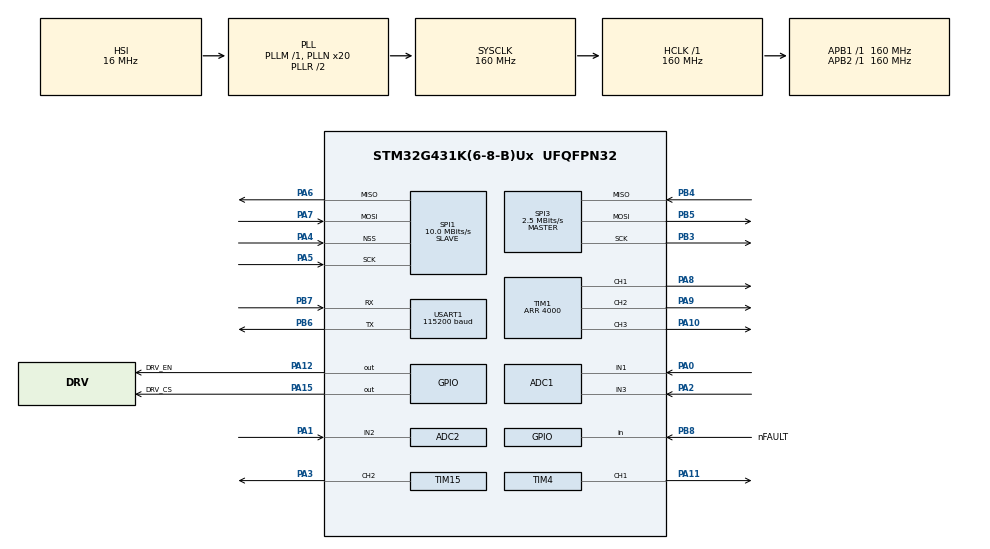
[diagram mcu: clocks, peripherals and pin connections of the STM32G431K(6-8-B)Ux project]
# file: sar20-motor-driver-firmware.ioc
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Dma.SPI3_RX.0.Priority=DMA_PRIORITY_LOW
NVIC.ADC1_2_IRQn=true\:0\:0\:false\:false\:true\:true\:true
TIM15.PulseNoDither_2=32000
Dma.ADC1.4.Priority=DMA_PRIORITY_LOW
SPI3.Direction=SPI_DIRECTION_2LINES
SPI3.VirtualType=VM_MASTER
SPI1.VirtualType=VM_SLAVE
ADC2.SamplingTime-1\#ChannelRegularConversion=ADC_SAMPLETIME_2CYCLES_5
Dma.USART1_RX.3.RequestNumber=1
Dma.TIM4_CH2.2.PeriphDataAlignment=DMA_PDATAALIGN_HALFWORD
Dma.USART1_RX.3.MemDataAlignment=DMA_MDATAALIGN_BYTE
Dma.ADC1.4.PeriphInc=DMA_PINC_DISABLE
PB3.GPIO_Speed=GPIO_SPEED_FREQ_LOW
Dma.ADC1.4.SignalID=NONE
RCC.SYSCLKSource=RCC_SYSCLKSOURCE_PLLCLK
Dma.ADC2.5.Polarity=HAL_DMAMUX_REQ_GEN_RISING
NVIC.DMA1_Channel3_IRQn=true\:0\:0\:false\:false\:true\:false\:true
Dma.SPI1_RX.6.SignalID=NONE
Dma.TIM4_CH2.2.MemDataAlignment=DMA_MDATAALIGN_HALFWORD
Dma.SPI1_RX.6.Priority=DMA_PRIORITY_LOW
Dma.ADC1.4.RequestNumber=1
PA4.Mode=NSS_Signal_Hard_Input
Dma.TIM4_CH2.2.Direction=DMA_PERIPH_TO_MEMORY
SPI1.Direction=SPI_DIRECTION_2LINES
RCC.APB2TimFreq_Value=160000000
PB6.Signal=USART1_TX
Dma.SPI1_RX.6.PeriphInc=DMA_PINC_DISABLE
PB6.Mode=Asynchronous
SPI1.CalculateBaudRate=10.0 MBits/s
Dma.SPI3_RX.0.PeriphDataAlignment=DMA_PDATAALIGN_HALFWORD
Dma.ADC1.4.Instance=DMA1_Channel5
Dma.ADC1.4.SyncSignalID=NONE
Dma.SPI3_RX.0.SyncSignalID=NONE
ADC2.EOCSelection=ADC_EOC_SEQ_CONV
Dma.SPI3_RX.0.SignalID=NONE
VP_TIM4_VS_ControllerModeTrigger.Mode=Trigger Mode
Dma.SPI3_RX.0.Direction=DMA_PERIPH_TO_MEMORY
Dma.ADC2.5.SyncSignalID=NONE
PB3.Mode=Full_Duplex_Master
Dma.SPI3_RX.0.MemDataAlignment=DMA_MDATAALIGN_HALFWORD
RCC.ADC12Freq_Value=160000000
Dma.SPI1_RX.6.SyncEnable=DISABLE
Dma.SPI3_RX.0.EventEnable=DISABLE
TIM1.Channel-PWM\ Generation1\ CH1=TIM_CHANNEL_1
TIM15.Channel-PWM\ Generation2\ CH2=TIM_CHANNEL_2
Dma.USART1_RX.3.SyncRequestNumber=1
SPI1.DataSize=SPI_DATASIZE_16BIT
PA0.Mode=IN1-Single-Ended
PA8.Signal=S_TIM1_CH1
SPI1.VirtualNSS=VM_NSSHARD
Dma.SPI1_TX.7.SyncSignalID=NONE
Dma.SPI3_TX.1.SyncEnable=DISABLE
VP_TIM1_VS_no_output5.Mode=PWM Generation5 No Output
VP_TIM1_VS_ClockSourceINT.Mode=Internal
ADC1.SamplingTime-0\#ChannelRegularConversion=ADC_SAMPLETIME_2CYCLES_5
PA0.Signal=ADC1_IN1
TIM4.Channel-PWM\ Generation2\ No\ Output=TIM_CHANNEL_2
Dma.ADC1.4.SyncRequestNumber=1
Mcu.Package=UFQFPN32
Dma.USART1_RX.3.Instance=DMA1_Channel4
Dma.SPI1_RX.6.SyncPolarity=HAL_DMAMUX_SYNC_NO_EVENT
SPI3.Mode=SPI_MODE_MASTER
Dma.SPI1_RX.6.MemInc=DMA_MINC_ENABLE
Dma.TIM4_CH2.2.EventEnable=DISABLE
ADC2.Overrun=ADC_OVR_DATA_OVERWRITTEN
TIM4.PulseNoDither_2=7999
TIM4.PulseNoDither_1=7999
TIM1.PulseNoDither_5=3999
ADC2.Channel-1\#ChannelRegularConversion=ADC_CHANNEL_2
TIM1.PulseNoDither_4=1
PA10.Signal=S_TIM1_CH3
Dma.ADC1.4.MemInc=DMA_MINC_ENABLE
Dma.TIM4_CH2.2.MemInc=DMA_MINC_DISABLE
PB5.GPIO_Speed=GPIO_SPEED_FREQ_LOW
Dma.ADC2.5.SyncEnable=DISABLE
SH.S_TIM4_CH1.0=TIM4_CH1,PWM Generation1 CH1
RCC.APB1TimFreq_Value=160000000
Dma.SPI3_RX.0.SyncPolarity=HAL_DMAMUX_SYNC_NO_EVENT
Dma.ADC1.4.EventEnable=DISABLE
NVIC.DMA1_Channel4_IRQn=true\:6\:0\:true\:false\:true\:false\:true
NVIC.USART1_IRQn=true\:7\:0\:true\:false\:true\:true\:true
Dma.USART1_RX.3.MemInc=DMA_MINC_ENABLE
ADC1.EOCSelection=ADC_EOC_SEQ_CONV
RCC.HSI48_VALUE=48000000
PA5.Mode=Full_Duplex_Slave
Dma.SPI1_TX.7.SyncEnable=DISABLE
PB7.GPIO_PuPd=GPIO_PULLUP
NVIC.DMA1_Channel6_IRQn=true\:0\:0\:false\:false\:true\:false\:true
Dma.SPI3_TX.1.MemInc=DMA_MINC_DISABLE
Dma.SPI1_TX.7.PeriphInc=DMA_PINC_DISABLE
Dma.SPI1_RX.6.PeriphDataAlignment=DMA_PDATAALIGN_HALFWORD
ADC1.Rank-0\#ChannelRegularConversion=1
Dma.TIM4_CH2.2.SyncPolarity=HAL_DMAMUX_SYNC_NO_EVENT
TIM1.CounterMode=TIM_COUNTERMODE_CENTERALIGNED2
ADC1.OffsetNumber-0\#ChannelRegularConversion=ADC_OFFSET_NONE
VP_TIM4_VS_no_output2.Mode=PWM Generation2 No Output
Dma.SPI1_TX.7.SignalID=NONE
Dma.SPI3_TX.1.Priority=DMA_PRIORITY_LOW
Dma.TIM4_CH2.2.RequestNumber=1
Dma.ADC2.5.PeriphDataAlignment=DMA_PDATAALIGN_HALFWORD
PA9.Signal=S_TIM1_CH2
TIM1.Channel-PWM\ Generation2\ CH2=TIM_CHANNEL_2
Dma.SPI3_TX.1.MemDataAlignment=DMA_MDATAALIGN_HALFWORD
PB4.GPIO_PuPd=GPIO_NOPULL
Dma.TIM4_CH2.2.Priority=DMA_PRIORITY_LOW
TIM15.PeriodNoDither=63999
ADC2.OffsetNumber-1\#ChannelRegularConversion=ADC_OFFSET_NONE
PA5.Signal=SPI1_SCK
PB8-BOOT0.Signal=GPIO_Input
Dma.ADC1.4.SyncPolarity=HAL_DMAMUX_SYNC_NO_EVENT
Dma.ADC2.5.Priority=DMA_PRIORITY_LOW
TIM1.TIM_MasterOutputTrigger=TIM_TRGO_OC4REF
Dma.SPI1_RX.6.Mode=DMA_CIRCULAR
PA1.Mode=IN2-Single-Ended
SPI1.CRCCalculation=SPI_CRCCALCULATION_DISABLE
SPI1.Mode=SPI_MODE_SLAVE
VP_TIM4_VS_ClockSourceITR.Mode=TriggerSource_ITR0
Dma.ADC1.4.Mode=DMA_CIRCULAR
Dma.SPI1_RX.6.EventEnable=DISABLE
Dma.SPI1_TX.7.Direction=DMA_MEMORY_TO_PERIPH
ADC1.DMAContinuousRequests=ENABLE
Dma.USART1_RX.3.PeriphDataAlignment=DMA_PDATAALIGN_BYTE
PA13.Mode=Serial_Wire
Dma.ADC1.4.MemDataAlignment=DMA_MDATAALIGN_HALFWORD
TIM1.Channel-PWM\ Generation4\ No\ Output=TIM_CHANNEL_4
Dma.ADC2.5.SignalID=NONE
ADC1.ExternalTrigConv=ADC_EXTERNALTRIG_T1_TRGO
Dma.SPI3_TX.1.PeriphInc=DMA_PINC_DISABLE
Dma.SPI3_RX.0.SyncRequestNumber=1
ADC1.SamplingTime-1\#ChannelRegularConversion=ADC_SAMPLETIME_2CYCLES_5
PA4.Signal=SPI1_NSS
PB5.Signal=SPI3_MOSI
ADC1.master=1
Dma.TIM4_CH2.2.SyncEnable=DISABLE
ADC2.NbrOfConversionFlag=1
Dma.TIM4_CH2.2.SyncSignalID=NONE
Dma.TIM4_CH2.2.SyncRequestNumber=1
ADC1.Rank-1\#ChannelRegularConversion=2
PA11.Signal=S_TIM4_CH1
NVIC.DMA2_Channel1_IRQn=true\:1\:0\:true\:false\:true\:false\:true
ProjectManager.HeapSize=0x200
TIM1.Channel-PWM\ Generation5\ No\ Output=TIM_CHANNEL_5
Dma.SPI1_TX.7.SyncPolarity=HAL_DMAMUX_SYNC_NO_EVENT
NVIC.PriorityGroup=NVIC_PRIORITYGROUP_4
Dma.SPI1_TX.7.PeriphDataAlignment=DMA_PDATAALIGN_HALFWORD
NVIC.DMA1_Channel1_IRQn=true\:0\:0\:false\:false\:true\:false\:true
TIM1.Channel-PWM\ Generation3\ CH3=TIM_CHANNEL_3
Dma.SPI1_RX.6.RequestNumber=1
Dma.SPI3_TX.1.SignalID=NONE
TIM1.PeriodNoDither=4000
Dma.SPI1_TX.7.Priority=DMA_PRIORITY_LOW
Mcu.Family=STM32G4
Dma.SPI3_RX.0.RequestNumber=1
Dma.USART1_RX.3.EventEnable=DISABLE
Dma.SPI3_TX.1.SyncSignalID=NONE
ADC2.ExternalTrigConv=ADC_EXTERNALTRIG_T1_TRGO
Dma.SPI1_TX.7.EventEnable=DISABLE
PA6.Mode=Full_Duplex_Slave
RCC.CortexFreq_Value=160000000
NVIC.DMA1_Channel5_IRQn=true\:0\:0\:false\:false\:true\:false\:true
Dma.ADC2.5.RequestNumber=1
ADC1.Overrun=ADC_OVR_DATA_OVERWRITTEN
ADC1.ContinuousConvMode=DISABLE
TIM1.RepetitionCounter=1
USART1.BaudRate=115200
Dma.SPI1_TX.7.MemDataAlignment=DMA_MDATAALIGN_HALFWORD
ProjectManager.StackSize=0x400
SH.S_TIM15_CH2.0=TIM15_CH2,PWM Generation2 CH2
Dma.USART1_RX.3.Polarity=HAL_DMAMUX_REQ_GEN_RISING
Dma.SPI3_TX.1.Polarity=HAL_DMAMUX_REQ_GEN_RISING
PA15.GPIO_Label=DRV_CS
Dma.SPI3_RX.0.MemInc=DMA_MINC_ENABLE
PA12.Signal=GPIO_Output
ADC2.DMAContinuousRequests=ENABLE
TIM15.Prescaler=249
ADC1.Mode=ADC_MODE_INDEPENDENT
RCC.HCLKFreq_Value=160000000
Dma.SPI1_TX.7.RequestNumber=1
RCC.AHBFreq_Value=160000000
SPI3.DataSize=SPI_DATASIZE_16BIT
Dma.SPI1_RX.6.SyncSignalID=NONE
ADC1.Channel-0\#ChannelRegularConversion=ADC_CHANNEL_1
NVIC.DMA2_Channel2_IRQn=true\:1\:0\:true\:false\:true\:false\:true
RCC.HSE_VALUE=8000000
Dma.SPI3_TX.1.RequestNumber=1
PB4.Mode=Full_Duplex_Master
PA14.Mode=Serial_Wire
PB5.Mode=Full_Duplex_Master
VP_SYS_VS_DBSignals.Mode=DisableDeadBatterySignals
Dma.TIM4_CH2.2.SignalID=NONE
PB7.Signal=USART1_RX
Dma.USART1_RX.3.Direction=DMA_PERIPH_TO_MEMORY
Dma.ADC2.5.MemInc=DMA_MINC_ENABLE
Dma.SPI1_TX.7.Polarity=HAL_DMAMUX_REQ_GEN_RISING
Dma.TIM4_CH2.2.Mode=DMA_CIRCULAR
Dma.SPI1_TX.7.SyncRequestNumber=1
Dma.ADC2.5.Mode=DMA_CIRCULAR
PA6.Signal=SPI1_MISO
Dma.SPI1_RX.6.Polarity=HAL_DMAMUX_REQ_GEN_RISING
PA15.Signal=GPIO_Output
ADC1.OffsetNumber-1\#ChannelRegularConversion=ADC_OFFSET_NONE
Dma.TIM4_CH2.2.Polarity=HAL_DMAMUX_REQ_GEN_RISING
PB8-BOOT0.GPIO_Label=nFAULT
Dma.ADC2.5.Direction=DMA_PERIPH_TO_MEMORY
Dma.SPI3_TX.1.Direction=DMA_MEMORY_TO_PERIPH
Dma.Request2=TIM4_CH2
Dma.ADC2.5.MemDataAlignment=DMA_MDATAALIGN_HALFWORD
Dma.Request1=SPI3_TX
Dma.Request4=ADC1
Dma.Request3=USART1_RX
Dma.Request6=SPI1_RX
Dma.Request5=ADC2
Dma.Request7=SPI1_TX
Dma.ADC2.5.Instance=DMA1_Channel6
Dma.Request0=SPI3_RX
Dma.ADC2.5.SyncPolarity=HAL_DMAMUX_SYNC_NO_EVENT
PB4.Signal=SPI3_MISO
Dma.SPI3_RX.0.Polarity=HAL_DMAMUX_REQ_GEN_RISING
PA3.Signal=S_TIM15_CH2
Dma.SPI1_RX.6.SyncRequestNumber=1
ADC2.ClockPrescaler=ADC_CLOCK_SYNC_PCLK_DIV4
TIM4.Channel-PWM\ Generation1\ CH1=TIM_CHANNEL_1
Dma.SPI1_RX.6.Direction=DMA_PERIPH_TO_MEMORY
Dma.TIM4_CH2.2.PeriphInc=DMA_PINC_DISABLE
Dma.SPI1_TX.7.MemInc=DMA_MINC_ENABLE
PA7.Mode=Full_Duplex_Slave
Dma.SPI1_TX.7.Mode=DMA_CIRCULAR
PB8-BOOT0.GPIO_PuPd=GPIO_PULLUP
Dma.SPI3_RX.0.PeriphInc=DMA_PINC_DISABLE
Dma.USART1_RX.3.PeriphInc=DMA_PINC_DISABLE
TIM4.PeriodNoDither=7999
Dma.SPI3_TX.1.EventEnable=DISABLE
Dma.ADC1.4.SyncEnable=DISABLE
Dma.ADC1.4.PeriphDataAlignment=DMA_PDATAALIGN_HALFWORD
RCC.EXTERNAL_CLOCK_VALUE=12288000
Dma.USART1_RX.3.SyncPolarity=HAL_DMAMUX_SYNC_NO_EVENT
Dma.SPI3_TX.1.Instance=DMA1_Channel2
PA12.GPIO_Label=DRV_EN
Dma.SPI3_RX.0.Mode=DMA_CIRCULAR
Dma.SPI3_TX.1.PeriphDataAlignment=DMA_PDATAALIGN_HALFWORD
USART1.VirtualMode-Asynchronous=VM_ASYNC
PA13.Signal=SYS_JTMS-SWDIO
SH.S_TIM1_CH1.0=TIM1_CH1,PWM Generation1 CH1
Dma.SPI3_TX.1.Mode=DMA_NORMAL
NVIC.DMA1_Channel2_IRQn=true\:0\:0\:false\:false\:true\:false\:true
ProjectManager.TargetToolchain=STM32CubeIDE
ADC1.Channel-1\#ChannelRegularConversion=ADC_CHANNEL_3
RCC.USBFreq_Value=160000000
RCC.LSE_VALUE=32768
PA1.Signal=ADC2_IN2
Dma.SPI1_TX.7.Instance=DMA2_Channel2
board=custom
SPI3.CLKPhase=SPI_PHASE_2EDGE
RCC.VCOOutputFreq_Value=320000000
VP_TIM1_VS_no_output4.Mode=PWM Generation4 No Output
PB4.GPIO_Speed=GPIO_SPEED_FREQ_LOW
RCC.APB2Freq_Value=160000000
SPI3.CalculateBaudRate=2.5 MBits/s
SH.S_TIM1_CH2.0=TIM1_CH2,PWM Generation2 CH2
Dma.USART1_RX.3.SyncEnable=DISABLE
SPI3.BaudRatePrescaler=SPI_BAUDRATEPRESCALER_64
Dma.ADC1.4.Polarity=HAL_DMAMUX_REQ_GEN_RISING
ADC1.NbrOfConversion=2
Dma.SPI3_TX.1.SyncPolarity=HAL_DMAMUX_SYNC_NO_EVENT
Mcu.Name=STM32G431K(6-8-B)Ux
Dma.SPI3_RX.0.Instance=DMA1_Channel1
Dma.ADC2.5.SyncRequestNumber=1
PA2.Signal=ADC1_IN3
Dma.USART1_RX.3.Priority=DMA_PRIORITY_LOW
Dma.USART1_RX.3.SyncSignalID=NONE
PB3.Signal=SPI3_SCK
RCC.SYSCLKFreq_VALUE=160000000
TIM1.TIM_MasterOutputTrigger2=TIM_TRGO2_OC5REF
Dma.ADC2.5.EventEnable=DISABLE
PB7.Mode=Asynchronous
Dma.TIM4_CH2.2.Instance=DMA1_Channel3
PA14.Signal=SYS_JTCK-SWCLK
Dma.SPI3_TX.1.SyncRequestNumber=1
Dma.SPI1_RX.6.MemDataAlignment=DMA_MDATAALIGN_HALFWORD
SH.S_TIM1_CH3.0=TIM1_CH3,PWM Generation3 CH3
Dma.ADC2.5.PeriphInc=DMA_PINC_DISABLE
Dma.ADC1.4.Direction=DMA_PERIPH_TO_MEMORY
RCC.HSI_VALUE=16000000
ADC1.NbrOfConversionFlag=1
RCC.PLLN=20
Dma.SPI3_RX.0.SyncEnable=DISABLE
ADC2.Rank-1\#ChannelRegularConversion=1
PA2.Mode=IN3-Single-Ended
Dma.SPI1_RX.6.Instance=DMA2_Channel1
Dma.USART1_RX.3.SignalID=NONE
RCC.APB1Freq_Value=160000000
Dma.USART1_RX.3.Mode=DMA_CIRCULAR
TIM1.TIM_MasterSlaveMode=TIM_MASTERSLAVEMODE_ENABLE
PA7.Signal=SPI1_MOSI

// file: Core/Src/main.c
/* USER CODE BEGIN Header */
/**
  ******************************************************************************
  * @file           : main.c
  * @brief          : Main program body
  ******************************************************************************
  * @attention
  *
  * <h2><center>&copy; Copyright (c) 2020 STMicroelectronics.
  * All rights reserved.</center></h2>
  *
  * This software component is licensed by ST under BSD 3-Clause license,
  * the "License"; You may not use this file except in compliance with the
  * License. You may obtain a copy of the License at:
  *                        opensource.org/licenses/BSD-3-Clause
  *
  ******************************************************************************
  */
/* USER CODE END Header */
#include "main.h"

/* USER CODE BEGIN Includes */
#include "drv8323.h"
#include "foc.h"
#include "pid.h"
#include "windowed_average.h"
#include "eeprom_emul.h"
#include <string.h>
/* USER CODE END Includes */

/* USER CODE BEGIN PTD */
typedef struct __attribute__((packed)) DebugInfo {
  uint16_t rawPositionSensorValue;
  uint16_t mechAngleRaw;
  int16_t deltaPosition;
  uint16_t prevPosition;
  uint16_t position;
  uint16_t driverRegister1;
  uint16_t aDuty;
  uint16_t bDuty;
  uint16_t cDuty;
  uint16_t aVoltage;
  uint16_t bVoltage;
  uint16_t busVoltage;
  uint16_t aVoltageOffset;
  uint16_t bVoltageOffset;
  float speedHz;
  float aI;
  float bI;
  float cI;
  float dI;
  float qI;
  uint16_t nFault;
  uint16_t delimiter;
} DebugInfo;

typedef struct __attribute__((packed)) DebugCommand {
  float speedHz;
  uint8_t commandBits;
  uint8_t checkSum;
} DebugCommand;

enum ControlState {
  Idle,
  CalibratingDriver,
  Ready,
  CalibratingAngle,
  Active
};
/* USER CODE END PTD */

ADC_HandleTypeDef hadc1;
ADC_HandleTypeDef hadc2;
DMA_HandleTypeDef hdma_adc1;
DMA_HandleTypeDef hdma_adc2;

SPI_HandleTypeDef hspi1;
SPI_HandleTypeDef hspi3;
DMA_HandleTypeDef hdma_spi1_rx;
DMA_HandleTypeDef hdma_spi1_tx;
DMA_HandleTypeDef hdma_spi3_rx;
DMA_HandleTypeDef hdma_spi3_tx;

TIM_HandleTypeDef htim1;
TIM_HandleTypeDef htim4;
TIM_HandleTypeDef htim15;
DMA_HandleTypeDef hdma_tim4_ch2;

UART_HandleTypeDef huart1;
DMA_HandleTypeDef hdma_usart1_rx;

void SystemClock_Config(void);
static void MX_GPIO_Init(void);
static void MX_DMA_Init(void);
static void MX_SPI3_Init(void);
static void MX_TIM4_Init(void);
static void MX_USART1_UART_Init(void);
static void MX_TIM1_Init(void);
static void MX_ADC1_Init(void);
static void MX_ADC2_Init(void);
static void MX_SPI1_Init(void);
static void MX_TIM15_Init(void);

/* USER CODE BEGIN 0 */
void DMA_SetConfig(DMA_HandleTypeDef *hdma, uint32_t SrcAddress, uint32_t DstAddress, uint32_t DataLength)
{
  /* Clear all flags */
  hdma->DmaBaseAddress->IFCR = (DMA_ISR_GIF1 << (hdma->ChannelIndex & 0x1CU));

  /* Configure DMA Channel data length */
  hdma->Instance->CNDTR = DataLength;

  /* Memory to Peripheral */
  if((hdma->Init.Direction) == DMA_MEMORY_TO_PERIPH)
  {
    /* Configure DMA Channel destination address */
    hdma->Instance->CPAR = DstAddress;

    /* Configure DMA Channel source address */
    hdma->Instance->CMAR = SrcAddress;
  }
  /* Peripheral to Memory */
  else
  {
    /* Configure DMA Channel source address */
    hdma->Instance->CPAR = SrcAddress;

    /* Configure DMA Channel destination address */
    hdma->Instance->CMAR = DstAddress;
  }
}

void DMA_Start_IT(DMA_HandleTypeDef *hdma, uint32_t SrcAddress, uint32_t DstAddress, uint32_t DataLength)
{
  /* Disable the peripheral */
  __HAL_DMA_DISABLE(hdma);

  /* Configure the source, destination address and the data length & clear flags*/
  DMA_SetConfig(hdma, SrcAddress, DstAddress, DataLength);

  //__HAL_DMA_DISABLE_IT(hdma, DMA_IT_HT);
  __HAL_DMA_ENABLE_IT(hdma, (DMA_IT_TC | DMA_IT_TE));

  /* Enable the Peripheral */
  __HAL_DMA_ENABLE(hdma);
}

void SPI_TransmitReceive_DMA_Setup(SPI_HandleTypeDef *hspi, uint8_t *pTxData, uint8_t *pRxData, uint16_t Size)
{
  /* Set the transaction information */
  hspi->ErrorCode   = HAL_SPI_ERROR_NONE;
  hspi->pTxBuffPtr  = (uint8_t *)pTxData;
  hspi->TxXferSize  = 1;
  hspi->TxXferCount = Size;
  hspi->pRxBuffPtr  = (uint8_t *)pRxData;
  hspi->RxXferSize  = 1;
  hspi->RxXferCount = Size;

  /* Init field not used in handle to zero */
  hspi->RxISR       = NULL;
  hspi->TxISR       = NULL;

  DMA_Start_IT(hspi->hdmarx, (uint32_t)&hspi->Instance->DR, (uint32_t)hspi->pRxBuffPtr, hspi->RxXferCount);

  /* Enable Rx DMA Request */
  SET_BIT(hspi->Instance->CR2, SPI_CR2_RXDMAEN);
}

int limit(int value, int min, int max) {
  if (value < min) return min;
  if (value > max) return max;
  return value;
}

enum ControlState controlState = Idle;

uint16_t positionSensorTxData[1] = {0x0000};
uint16_t positionSensorRxData[1];

uint8_t uartRxData[6] = {0, 0, 0, 0, 0, 0};

int16_t spiSpeedRef_mHz = 0;

uint16_t zeroOffset = 6800;
const int polePairs = 7;
//const int mechCounts = 65536;

uint16_t mechAngleRaw = 0;
const float fElecCounts = 9362.2857f; // 2^16 / 7
const uint16_t elecCounts = 9362;
volatile float fElecAngle = 0.0f;
volatile float busV = 0.0f;
const float turnOffBusV = 7.0f;
const float turnOnBusV = 9.0f;

//adcRefV * voltageDividerRatio / adcCounts; busV = adcValue / 4095 * 3.3 * (24.9 + 4.99) / 4.99;
const float ratioAdcToBusV = 0.004835f;

uint16_t adcData[3] = {0, 0, 0};
uint16_t adcOffsets[2] = {1965, 1965};

int isMeasuringCurrentOffsets = 0;
const uint32_t maxAdcOffsetSum = 80000000; // should take about 2s at 20kHz
const uint32_t maxAdcOffsetCounts = 10000;
uint32_t adcOffsetSums[3] = {0, 0, 0};
uint32_t adcOffsetCounts[3] = {0, 0, 0};
int areCurrentOffsetsMeasured = 0;

// adcRefV / (shuntR * opampGain * adcCounts), gain = 20, shunt = 0.1
const float ratioAdcToPhaseI = 4.0293e-4f;

SinCosResult sc = {.c = 0.0f, .s = 0.0f};

volatile float aV = 0.0f;
volatile float bV = 0.0f;
volatile float cV = 0.0f;

float aI = 0.0f;
float bI = 0.0f;
float cI = 0.0f;

float iqRef = 0.0f;
float idRef = 0.0f;

volatile float angleSetpoint = 0.0f;

volatile float voltage = 0.0f;

SinCosResult scTest;

const float velocity_scale = 1.0f / 65536.0f;
const float kRateHz = 20000.0f;

WindowedAverage speedWindowedAverage;
volatile float speed_Hz = 0.0f;
volatile float speedRef = 0.0f;

uint16_t position = 0;
uint16_t prevPosition = 0;
int16_t deltaPosition = 0;

uint16_t aDuty = 0;
uint16_t bDuty = 0;
uint16_t cDuty = 0;

DqTransformResult dqI = {.d = 0.0f, .q = 0.0f};
InverseDqTransformResult abc = {.a = 0.0f, .b = 0.0f, .c = 0.0f};

PI_Control iqPI = {.pGain = 2.0f, .iGain = 0.2f, .dGain = 0.0f, .maxI = 5.0f, .i = 0.0f};
PI_Control idPI = {.pGain = 2.0f, .iGain = 0.2f, .dGain = 0.0f, .maxI = 5.0f, .i = 0.0f};
PI_Control speedPI = {.pGain = 0.08f, .iGain = 0.00004f, .dGain = 0.0f, .maxI = 5.0f, .i = 0.0f};

float iqPIout = 0.0f;
float idPIout = 0.0f;

int isAngleSensorActive = 0;
int isCalibratingAngle = 0;
float angleCalibrationCurrent = 0.5f;
volatile float angleCalibrationSetpoint = 0.0f;
SinCosResult scAngleCalibration = {.c = 0.0f, .s = 0.0f};
float angleCalibrationDirection = 1.0f;
int angleAtZeroCounter = 0;

volatile int hasReceivedUARTCommand = 0;

volatile DebugInfo debugInfo = {
    .rawPositionSensorValue = 0,
    .mechAngleRaw = 0,
    .driverRegister1 = 0,
    .aDuty = 0,
    .bDuty = 0,
    .cDuty = 0,
    .aVoltage = 0,
    .bVoltage = 0,
    .busVoltage = 0,
    .aVoltageOffset = 0,
    .bVoltageOffset = 0,
    .deltaPosition = 0,
    .delimiter = 0xAAAA
};

DebugCommand debugCommand = {
    .speedHz = 0.0f,
    .commandBits = 0,
    .checkSum = 0
};

/**
 * @brief Sets LED frequency and duty cycle
 * @param frequency LED PWM frequency in decihertz (dHz)
 * @param duty LED PWM duty cycle in percent (0 - 100)
 * @retval None
 */
void setLEDPWM(uint32_t frequency_dHz, uint32_t duty) {
  uint32_t counts = 64000;

  TIM15->PSC = min(SystemCoreClock * 10 / counts / frequency_dHz - 1, 65535);
  TIM15->ARR = counts - 1;
  TIM15->CCR2 = min(counts * (100 - duty) / 100, counts - 1);
}

void HAL_ADC_ConvCpltCallback(ADC_HandleTypeDef *hadc) {
  if (hadc != &hadc1) {
    return;
  }

  busV = (float)adcData[1] * ratioAdcToBusV;

  if (isMeasuringCurrentOffsets) {
    adcOffsetSums[0] += adcData[0];
    adcOffsetSums[1] += adcData[2];
    adcOffsetCounts[0] += 1;
    adcOffsetCounts[1] += 1;

    if (
        adcOffsetSums[0] > maxAdcOffsetSum || adcOffsetSums[1] > maxAdcOffsetSum
        || adcOffsetCounts[0] >= maxAdcOffsetCounts
    ) {
      isMeasuringCurrentOffsets = 0;
      areCurrentOffsetsMeasured = 1;

      adcOffsets[0] = adcOffsetSums[0] / adcOffsetCounts[0];
      adcOffsets[1] = adcOffsetSums[1] / adcOffsetCounts[1];
    }

    return;
  }

  if (isAngleSensorActive) {
    mechAngleRaw = positionSensorRxData[0];
    prevPosition = position;
    position = mechAngleRaw - zeroOffset;
    deltaPosition = position - prevPosition;
    WindowedAverage_Add(&speedWindowedAverage, deltaPosition);
    speed_Hz = 0.96f * speed_Hz + 0.04f * (float)speedWindowedAverage.total_ * velocity_scale * kRateHz / (float)speedWindowedAverage.size_;
  }

  if (controlState < CalibratingAngle) {
    return;
  }

  fElecAngle = (float)(position % elecCounts);
  fElecAngle = fElecAngle / fElecCounts * k2Pi;

  if (fElecAngle < 0.0f) fElecAngle += k2Pi;

  SinCos(fElecAngle, &sc);

  //SinCos(angleSetpoint, &scTest);
  //InverseDqTransform(&scTest, 3.8f, 0.0f, &abc);

  //angleSetpoint += 0.01f;

  //if (angleSetpoint > k2Pi) angleSetpoint -= k2Pi;

  aI = (float)((int32_t)adcData[0] - (int32_t)adcOffsets[0]) * ratioAdcToPhaseI;
  bI = (float)((int32_t)adcData[2] - (int32_t)adcOffsets[1]) * ratioAdcToPhaseI;
  cI = -aI - bI;

  //InverseDqTransform(&sc, 0.0f, 0.8f, &abc); // voltage

  DqTransform(&sc, aI, bI, cI, &dqI); // current

  //iqRef = 0.2f;
  if (controlState == CalibratingAngle) {
    idRef = isCalibratingAngle ? angleCalibrationCurrent : 0.0f;
    iqRef = 0.0f;

    angleCalibrationSetpoint += angleCalibrationDirection * 0.01f;

    if (mechAngleRaw > elecCounts) {
      angleCalibrationDirection = -1.0f;
      angleAtZeroCounter = 0;
    } else {
      if (angleCalibrationSetpoint > 0.1f) {
        angleCalibrationDirection = -1.0f;
      } else {
        angleCalibrationSetpoint = 0.0f;
      }
    }

    if (mechAngleRaw < elecCounts && angleCalibrationSetpoint == 0.0f) {
      angleAtZeroCounter++;

      if (angleAtZeroCounter == 10000) {
        zeroOffset = mechAngleRaw;
        isCalibratingAngle = 0;
      }
    }

    if (angleCalibrationSetpoint > k2Pi) {
      angleCalibrationSetpoint -= k2Pi;
    } else if (angleCalibrationSetpoint < 0) {
      angleCalibrationSetpoint += k2Pi;
    }

    SinCos(angleCalibrationSetpoint, &scAngleCalibration);
    DqTransform(&scAngleCalibration, aI, bI, cI, &dqI);
  } else if (controlState == Active) {
    DqTransform(&sc, aI, bI, cI, &dqI); // current
    idRef = 0.0f;
    iqRef = PI_Control_update(&speedPI, speedRef, speed_Hz);
  }

  iqPIout = PI_Control_update(&iqPI, iqRef, dqI.q);
  idPIout = PI_Control_update(&idPI, idRef, dqI.d);

  if (controlState == CalibratingAngle) {
    InverseDqTransform(&scAngleCalibration, idPIout, iqPIout, &abc);
  } else if (controlState == Active) {
    InverseDqTransform(&sc, idPIout, iqPIout, &abc); // current
  }

  // Voltage to PWM
  aV = 0.5f + abc.a / busV;
  bV = 0.5f + abc.b / busV;
  cV = 0.5f + abc.c / busV;

  aDuty = limit((int)(aV * 4000.0f), 0, 4000);
  bDuty = limit((int)(bV * 4000.0f), 0, 4000);
  cDuty = limit((int)(cV * 4000.0f), 0, 4000);

  htim1.Instance->CCR1 = cDuty;
  htim1.Instance->CCR2 = bDuty;
  htim1.Instance->CCR3 = aDuty;

  // For finding angle sensor zero offset
  /*TIM1->CCR1 = 1800;
  TIM1->CCR2 = 1800;
  TIM1->CCR3 = 2400;*/

  /*TIM1->CCR1 = 2000;
  TIM1->CCR2 = 2000;
  TIM1->CCR3 = 2000;*/

  /*IM1->CCR1 = 0;
  TIM1->CCR2 = 0;
  TIM1->CCR3 = 0;*/
}

void HAL_UART_RxCpltCallback(UART_HandleTypeDef *huart) {
  hasReceivedUARTCommand = 1;
}

HAL_StatusTypeDef DMA_Stop(DMA_HandleTypeDef *hdma)
{
  HAL_StatusTypeDef status = HAL_OK;

  /* Process locked */
  __HAL_LOCK(hdma);

  /* Disable the peripheral */
  __HAL_DMA_DISABLE(hdma);

  hdma->State = HAL_DMA_STATE_READY;

  /* Process Unlocked */
  __HAL_UNLOCK(hdma);

  return status;
}

void startAngleSensor() {
  if (isAngleSensorActive) {
    return;
  }

  isAngleSensorActive = 1;

  /*DRV8323_writeRegister(
      &hspi3,
      DRV_CS_GPIO_Port,
      DRV_CS_Pin,
      DRV8323_RegisterAddress_CSA_control,
      DRV8323_CSA_control_bidirectional_mode |
      DRV8323_CSA_control_gain_20 |
      DRV8323_CSA_control_sense_overcurrent_level_1V
  );*/

  // Change SPI frequency to 10 MHz for angle sensor
  MODIFY_REG(hspi3.Instance->CR1, SPI_CR1_BR_Msk, SPI_BAUDRATEPRESCALER_16);

  // Change SPI mode from 1 to 0
  MODIFY_REG(hspi3.Instance->CR1, SPI_CR1_CPHA_Msk, SPI_PHASE_1EDGE);

  SPI_TransmitReceive_DMA_Setup(&hspi3, (uint32_t)positionSensorTxData, (uint32_t)positionSensorRxData, 1);
  HAL_DMA_Start(&hdma_tim4_ch2, positionSensorTxData, (uint32_t)&SPI3->DR, 1);

  htim4.Instance->CCR1 = 32;
  htim4.Instance->CCR2 = 64;
}

void stopAngleSensor() {
  if (!isAngleSensorActive) {
    return;
  }

  isAngleSensorActive = 0;

  /* Disable Rx DMA Request */
  CLEAR_BIT(hspi3.Instance->CR2, SPI_CR2_RXDMAEN);

  DMA_Stop(hspi3.hdmarx);

  DMA_Stop(&hdma_tim4_ch2);

  htim4.Instance->CCR1 = 0;
  htim4.Instance->CCR2 = 0;
}

void startMotorDriver() {
  aDuty = 0;
  bDuty = 0;
  cDuty = 0;

  TIM1->CCR1 = 0;
  TIM1->CCR2 = 0;
  TIM1->CCR3 = 0;

  HAL_GPIO_WritePin(DRV_EN_GPIO_Port, DRV_EN_Pin, GPIO_PIN_SET); // enable DRV8323

  HAL_Delay(1); // SPI ready after enable < 1ms

  // Change SPI frequency to 2.5 MHz for motor driver
  MODIFY_REG(hspi3.Instance->CR1, SPI_CR1_BR_Msk, SPI_BAUDRATEPRESCALER_64);

  // Change SPI mode from 0 to 1
  MODIFY_REG(hspi3.Instance->CR1, SPI_CR1_CPHA_Msk, SPI_PHASE_2EDGE);

  HAL_Delay(1);

  DRV8323_writeRegister(
      &hspi3,
      DRV_CS_GPIO_Port,
      DRV_CS_Pin,
      DRV8323_RegisterAddress_driver_control,
      DRV8323_driver_control_PWM_mode_3x
  );

  TIM1->CCR1 = 2000;
  TIM1->CCR2 = 2000;
  TIM1->CCR3 = 2000;
}

void stopMotorDriver() {
  HAL_GPIO_WritePin(DRV_EN_GPIO_Port, DRV_EN_Pin, GPIO_PIN_RESET); // disable DRV8323

  aDuty = 0;
  bDuty = 0;
  cDuty = 0;

  TIM1->CCR1 = 0;
  TIM1->CCR2 = 0;
  TIM1->CCR3 = 0;
}

void setControlState(enum ControlState newControlState) {
  if (controlState == newControlState) {
    return;
  }

  controlState = newControlState;

  switch (newControlState) {
  case Idle:
    setLEDPWM(200, 5);
    stopMotorDriver();
    speedRef = 0.0f;
    PI_Control_reset(&speedPI);
    PI_Control_reset(&idPI);
    PI_Control_reset(&iqPI);
    WindowedAverage_Init(&speedWindowedAverage);
    speed_Hz = 0.0f;
    break;
  case CalibratingDriver:
    setLEDPWM(100, 10);
    stopAngleSensor();
    startMotorDriver();

    if (!areCurrentOffsetsMeasured) {
      isMeasuringCurrentOffsets = 1;
    }

    break;
  case Ready:
    setLEDPWM(50, 10);
    speedRef = 0.0f;
    WindowedAverage_Init(&speedWindowedAverage);
    startAngleSensor();
    break;
  case CalibratingAngle:
    setLEDPWM(100, 50);
    isCalibratingAngle = 1;
    angleAtZeroCounter = 0;
    startAngleSensor();
    break;
  case Active:
    setLEDPWM(20, 5);
    startAngleSensor();
    break;
  }
}
/* USER CODE END 0 */

int main(void)
{
  /* USER CODE BEGIN 1 */
  WindowedAverage_Init(&speedWindowedAverage);
  /* USER CODE END 1 */

  /* MCU Configuration--------------------------------------------------------*/

  /* Reset of all peripherals, Initializes the Flash interface and the Systick. */
  HAL_Init();

  /* Configure the system clock */
  SystemClock_Config();

  /* Initialize all configured peripherals */
  MX_GPIO_Init();
  MX_DMA_Init();
  MX_SPI3_Init();
  MX_TIM4_Init();
  MX_USART1_UART_Init();
  MX_TIM1_Init();
  MX_ADC1_Init();
  MX_ADC2_Init();
  MX_SPI1_Init();
  MX_TIM15_Init();
  /* USER CODE BEGIN 2 */
  __HAL_SPI_ENABLE(&hspi3);

  setLEDPWM(10, 5);
  HAL_TIM_PWM_Start(&htim15, TIM_CHANNEL_2);

  HAL_TIM_PWM_Start(&htim4, TIM_CHANNEL_1);
  HAL_TIM_OC_Start(&htim4, TIM_CHANNEL_2);

  EE_Status ee_status = EE_OK;

  HAL_FLASH_Unlock();

  ee_status = EE_Init(EE_FORCED_ERASE);
  if(ee_status != EE_OK) {Error_Handler();}

  EE_ReadVariable16bits(1, &zeroOffset);

  HAL_FLASH_Lock();

  htim4.Instance->CCR1 = 0;
  htim4.Instance->CCR2 = 0;

  HAL_ADC_Start_DMA(&hadc2, adcData + 2, 1);

  HAL_ADC_Start_DMA(&hadc1, adcData, 2);
  HAL_ADC_Start_IT(&hadc1);

  HAL_UART_Receive_DMA(&huart1, &uartRxData, sizeof(uartRxData));

  // sets offset before timer is started to align TIM4 CH2 DMA request that triggers SPI3 data transfer,
  // should happen after the ADC sampling is done and before ADC sequence end interrupt
  htim4.Instance->CNT = 4000;

  HAL_TIM_PWM_Start(&htim1, TIM_CHANNEL_1);
  HAL_TIM_PWM_Start(&htim1, TIM_CHANNEL_2);
  HAL_TIM_PWM_Start(&htim1, TIM_CHANNEL_3);
  HAL_TIM_PWM_Start(&htim1, TIM_CHANNEL_4);
  HAL_TIM_PWM_Start(&htim1, TIM_CHANNEL_5);

  TIM1->CCR1 = 0;
  TIM1->CCR2 = 0;
  TIM1->CCR3 = 0;
  TIM1->CCR4 = 3999;
  TIM1->CCR5 = 1;

  __HAL_TIM_ENABLE_DMA(&htim4, TIM_DMA_CC2);
  HAL_TIM_PWM_Start(&htim4, TIM_CHANNEL_1);
  HAL_TIM_OC_Start(&htim4, TIM_CHANNEL_2);

  HAL_SPI_TransmitReceive_DMA(&hspi1, &position, &spiSpeedRef_mHz, 1);

  uint8_t calculatedCheckSum = 0;
  uint8_t shouldUseDebugSpeedRef = 0;
  uint8_t shouldSendDebugInfo = 0;
  /* USER CODE END 2 */

  /* Infinite loop */
  while (1)
  {

    /* USER CODE BEGIN 3 */
    if (busV <= turnOffBusV && controlState != Idle) {
      setControlState(Idle);
    }

    if (hasReceivedUARTCommand) {
      hasReceivedUARTCommand = 0;

      calculatedCheckSum = 0;

      for (uint32_t i = 0; i < sizeof(uartRxData) - 1; i++) {
        calculatedCheckSum += uartRxData[i];
      }

      if (calculatedCheckSum == uartRxData[sizeof(uartRxData) - 1]) {
        uint8_t prevCalibrateAngle = debugCommand.commandBits & 0x04;

        memcpy(&debugCommand, uartRxData, sizeof(uartRxData));

        shouldUseDebugSpeedRef = debugCommand.commandBits & 0x01;
        shouldSendDebugInfo = debugCommand.commandBits & 0x02;

        if (!prevCalibrateAngle && (debugCommand.commandBits & 0x04)) {
          setControlState(CalibratingAngle);
        } else if (shouldUseDebugSpeedRef && (controlState == Ready || controlState == Active)) {
          speedRef = debugCommand.speedHz;

          setControlState(Active);
        }
      }
    }

    switch (controlState) {
    case Idle:
      if (busV >= turnOnBusV) {
        setControlState(CalibratingDriver);
      }
      break;
    case CalibratingDriver:
      if (!isMeasuringCurrentOffsets) {
        // Current offset calibration has ended
        setControlState(Ready);
      }
      break;
    case CalibratingAngle:
      if (!isCalibratingAngle) {
        // Angle calibration has ended
        HAL_FLASH_Unlock();
        EE_WriteVariable16bits(1, zeroOffset);
        HAL_FLASH_Lock();
        setControlState(Ready);
      }
      break;
    case Ready:
      if (!shouldUseDebugSpeedRef && spiSpeedRef_mHz != 0) {
        setControlState(Active);
      }
      break;
    case Active:
      if (!shouldUseDebugSpeedRef) {
        speedRef = (float)spiSpeedRef_mHz / 1000.0f;
      }
      break;
    }

    if (shouldSendDebugInfo) {
      shouldSendDebugInfo = 0;

      debugInfo.driverRegister1 = spiSpeedRef_mHz;
      debugInfo.rawPositionSensorValue = positionSensorRxData[0];
      debugInfo.mechAngleRaw = mechAngleRaw;
      debugInfo.deltaPosition = deltaPosition;
      debugInfo.prevPosition = prevPosition;
      debugInfo.position = position;
      debugInfo.aDuty = aDuty;
      debugInfo.bDuty = bDuty;
      debugInfo.cDuty = cDuty;
      debugInfo.aVoltage = adcData[0];
      debugInfo.bVoltage = adcData[2];
      debugInfo.busVoltage = adcData[1];
      debugInfo.aVoltageOffset = adcOffsets[0];
      debugInfo.bVoltageOffset = adcOffsets[1];
      debugInfo.speedHz = speed_Hz;
      debugInfo.aI = aI;
      debugInfo.bI = bI;
      debugInfo.cI = cI;
      debugInfo.dI = dqI.d;
      debugInfo.qI = dqI.q;
      debugInfo.nFault = HAL_GPIO_ReadPin(nFAULT_GPIO_Port, nFAULT_Pin);

      HAL_UART_Transmit(&huart1, &debugInfo, sizeof(debugInfo), 0xffffff);
    }
  }
  /* USER CODE END 3 */
}

void SystemClock_Config(void)
{
  RCC_OscInitTypeDef RCC_OscInitStruct = {0};
  RCC_ClkInitTypeDef RCC_ClkInitStruct = {0};
  RCC_PeriphCLKInitTypeDef PeriphClkInit = {0};

  /** Configure the main internal regulator output voltage
  */
  HAL_PWREx_ControlVoltageScaling(PWR_REGULATOR_VOLTAGE_SCALE1_BOOST);
  /** Initializes the RCC Oscillators according to the specified parameters
  * in the RCC_OscInitTypeDef structure.
  */
  RCC_OscInitStruct.OscillatorType = RCC_OSCILLATORTYPE_HSI;
  RCC_OscInitStruct.HSIState = RCC_HSI_ON;
  RCC_OscInitStruct.HSICalibrationValue = RCC_HSICALIBRATION_DEFAULT;
  RCC_OscInitStruct.PLL.PLLState = RCC_PLL_ON;
  RCC_OscInitStruct.PLL.PLLSource = RCC_PLLSOURCE_HSI;
  RCC_OscInitStruct.PLL.PLLM = RCC_PLLM_DIV1;
  RCC_OscInitStruct.PLL.PLLN = 20;
  RCC_OscInitStruct.PLL.PLLP = RCC_PLLP_DIV2;
  RCC_OscInitStruct.PLL.PLLQ = RCC_PLLQ_DIV2;
  RCC_OscInitStruct.PLL.PLLR = RCC_PLLR_DIV2;
  if (HAL_RCC_OscConfig(&RCC_OscInitStruct) != HAL_OK)
  {
    Error_Handler();
  }
  /** Initializes the CPU, AHB and APB buses clocks
  */
  RCC_ClkInitStruct.ClockType = RCC_CLOCKTYPE_HCLK|RCC_CLOCKTYPE_SYSCLK
                              |RCC_CLOCKTYPE_PCLK1|RCC_CLOCKTYPE_PCLK2;
  RCC_ClkInitStruct.SYSCLKSource = RCC_SYSCLKSOURCE_PLLCLK;
  RCC_ClkInitStruct.AHBCLKDivider = RCC_SYSCLK_DIV1;
  RCC_ClkInitStruct.APB1CLKDivider = RCC_HCLK_DIV1;
  RCC_ClkInitStruct.APB2CLKDivider = RCC_HCLK_DIV1;

  if (HAL_RCC_ClockConfig(&RCC_ClkInitStruct, FLASH_LATENCY_4) != HAL_OK)
  {
    Error_Handler();
  }
  /** Initializes the peripherals clocks
  */
  PeriphClkInit.PeriphClockSelection = RCC_PERIPHCLK_USART1|RCC_PERIPHCLK_ADC12;
  PeriphClkInit.Usart1ClockSelection = RCC_USART1CLKSOURCE_PCLK2;
  PeriphClkInit.Adc12ClockSelection = RCC_ADC12CLKSOURCE_SYSCLK;
  if (HAL_RCCEx_PeriphCLKConfig(&PeriphClkInit) != HAL_OK)
  {
    Error_Handler();
  }
}

static void MX_ADC1_Init(void)
{

  ADC_MultiModeTypeDef multimode = {0};
  ADC_ChannelConfTypeDef sConfig = {0};

  /** Common config
  */
  hadc1.Instance = ADC1;
  hadc1.Init.ClockPrescaler = ADC_CLOCK_SYNC_PCLK_DIV4;
  hadc1.Init.Resolution = ADC_RESOLUTION_12B;
  hadc1.Init.DataAlign = ADC_DATAALIGN_RIGHT;
  hadc1.Init.GainCompensation = 0;
  hadc1.Init.ScanConvMode = ADC_SCAN_ENABLE;
  hadc1.Init.EOCSelection = ADC_EOC_SEQ_CONV;
  hadc1.Init.LowPowerAutoWait = DISABLE;
  hadc1.Init.ContinuousConvMode = DISABLE;
  hadc1.Init.NbrOfConversion = 2;
  hadc1.Init.DiscontinuousConvMode = DISABLE;
  hadc1.Init.ExternalTrigConv = ADC_EXTERNALTRIG_T1_TRGO;
  hadc1.Init.ExternalTrigConvEdge = ADC_EXTERNALTRIGCONVEDGE_RISING;
  hadc1.Init.DMAContinuousRequests = ENABLE;
  hadc1.Init.Overrun = ADC_OVR_DATA_OVERWRITTEN;
  hadc1.Init.OversamplingMode = DISABLE;
  if (HAL_ADC_Init(&hadc1) != HAL_OK)
  {
    Error_Handler();
  }
  /** Configure the ADC multi-mode
  */
  multimode.Mode = ADC_MODE_INDEPENDENT;
  if (HAL_ADCEx_MultiModeConfigChannel(&hadc1, &multimode) != HAL_OK)
  {
    Error_Handler();
  }
  /** Configure Regular Channel
  */
  sConfig.Channel = ADC_CHANNEL_1;
  sConfig.Rank = ADC_REGULAR_RANK_1;
  sConfig.SamplingTime = ADC_SAMPLETIME_2CYCLES_5;
  sConfig.SingleDiff = ADC_SINGLE_ENDED;
  sConfig.OffsetNumber = ADC_OFFSET_NONE;
  sConfig.Offset = 0;
  if (HAL_ADC_ConfigChannel(&hadc1, &sConfig) != HAL_OK)
  {
    Error_Handler();
  }
  /** Configure Regular Channel
  */
  sConfig.Channel = ADC_CHANNEL_3;
  sConfig.Rank = ADC_REGULAR_RANK_2;
  if (HAL_ADC_ConfigChannel(&hadc1, &sConfig) != HAL_OK)
  {
    Error_Handler();
  }

}

static void MX_ADC2_Init(void)
{

  ADC_ChannelConfTypeDef sConfig = {0};

  /** Common config
  */
  hadc2.Instance = ADC2;
  hadc2.Init.ClockPrescaler = ADC_CLOCK_SYNC_PCLK_DIV4;
  hadc2.Init.Resolution = ADC_RESOLUTION_12B;
  hadc2.Init.DataAlign = ADC_DATAALIGN_RIGHT;
  hadc2.Init.GainCompensation = 0;
  hadc2.Init.ScanConvMode = ADC_SCAN_DISABLE;
  hadc2.Init.EOCSelection = ADC_EOC_SEQ_CONV;
  hadc2.Init.LowPowerAutoWait = DISABLE;
  hadc2.Init.ContinuousConvMode = DISABLE;
  hadc2.Init.NbrOfConversion = 1;
  hadc2.Init.DiscontinuousConvMode = DISABLE;
  hadc2.Init.ExternalTrigConv = ADC_EXTERNALTRIG_T1_TRGO;
  hadc2.Init.ExternalTrigConvEdge = ADC_EXTERNALTRIGCONVEDGE_RISING;
  hadc2.Init.DMAContinuousRequests = ENABLE;
  hadc2.Init.Overrun = ADC_OVR_DATA_OVERWRITTEN;
  hadc2.Init.OversamplingMode = DISABLE;
  if (HAL_ADC_Init(&hadc2) != HAL_OK)
  {
    Error_Handler();
  }
  /** Configure Regular Channel
  */
  sConfig.Channel = ADC_CHANNEL_2;
  sConfig.Rank = ADC_REGULAR_RANK_1;
  sConfig.SamplingTime = ADC_SAMPLETIME_2CYCLES_5;
  sConfig.SingleDiff = ADC_SINGLE_ENDED;
  sConfig.OffsetNumber = ADC_OFFSET_NONE;
  sConfig.Offset = 0;
  if (HAL_ADC_ConfigChannel(&hadc2, &sConfig) != HAL_OK)
  {
    Error_Handler();
  }

}

static void MX_SPI1_Init(void)
{

  /* SPI1 parameter configuration*/
  hspi1.Instance = SPI1;
  hspi1.Init.Mode = SPI_MODE_SLAVE;
  hspi1.Init.Direction = SPI_DIRECTION_2LINES;
  hspi1.Init.DataSize = SPI_DATASIZE_16BIT;
  hspi1.Init.CLKPolarity = SPI_POLARITY_LOW;
  hspi1.Init.CLKPhase = SPI_PHASE_1EDGE;
  hspi1.Init.NSS = SPI_NSS_HARD_INPUT;
  hspi1.Init.FirstBit = SPI_FIRSTBIT_MSB;
  hspi1.Init.TIMode = SPI_TIMODE_DISABLE;
  hspi1.Init.CRCCalculation = SPI_CRCCALCULATION_DISABLE;
  hspi1.Init.CRCPolynomial = 7;
  hspi1.Init.CRCLength = SPI_CRC_LENGTH_DATASIZE;
  hspi1.Init.NSSPMode = SPI_NSS_PULSE_DISABLE;
  if (HAL_SPI_Init(&hspi1) != HAL_OK)
  {
    Error_Handler();
  }

}

static void MX_SPI3_Init(void)
{

  /* SPI3 parameter configuration*/
  hspi3.Instance = SPI3;
  hspi3.Init.Mode = SPI_MODE_MASTER;
  hspi3.Init.Direction = SPI_DIRECTION_2LINES;
  hspi3.Init.DataSize = SPI_DATASIZE_16BIT;
  hspi3.Init.CLKPolarity = SPI_POLARITY_LOW;
  hspi3.Init.CLKPhase = SPI_PHASE_2EDGE;
  hspi3.Init.NSS = SPI_NSS_SOFT;
  hspi3.Init.BaudRatePrescaler = SPI_BAUDRATEPRESCALER_64;
  hspi3.Init.FirstBit = SPI_FIRSTBIT_MSB;
  hspi3.Init.TIMode = SPI_TIMODE_DISABLE;
  hspi3.Init.CRCCalculation = SPI_CRCCALCULATION_DISABLE;
  hspi3.Init.CRCPolynomial = 7;
  hspi3.Init.CRCLength = SPI_CRC_LENGTH_DATASIZE;
  hspi3.Init.NSSPMode = SPI_NSS_PULSE_DISABLE;
  if (HAL_SPI_Init(&hspi3) != HAL_OK)
  {
    Error_Handler();
  }

}

static void MX_TIM1_Init(void)
{

  TIM_ClockConfigTypeDef sClockSourceConfig = {0};
  TIM_MasterConfigTypeDef sMasterConfig = {0};
  TIM_OC_InitTypeDef sConfigOC = {0};
  TIM_BreakDeadTimeConfigTypeDef sBreakDeadTimeConfig = {0};

  htim1.Instance = TIM1;
  htim1.Init.Prescaler = 0;
  htim1.Init.CounterMode = TIM_COUNTERMODE_CENTERALIGNED2;
  htim1.Init.Period = 4000;
  htim1.Init.ClockDivision = TIM_CLOCKDIVISION_DIV1;
  htim1.Init.RepetitionCounter = 1;
  htim1.Init.AutoReloadPreload = TIM_AUTORELOAD_PRELOAD_DISABLE;
  if (HAL_TIM_Base_Init(&htim1) != HAL_OK)
  {
    Error_Handler();
  }
  sClockSourceConfig.ClockSource = TIM_CLOCKSOURCE_INTERNAL;
  if (HAL_TIM_ConfigClockSource(&htim1, &sClockSourceConfig) != HAL_OK)
  {
    Error_Handler();
  }
  if (HAL_TIM_PWM_Init(&htim1) != HAL_OK)
  {
    Error_Handler();
  }
  sMasterConfig.MasterOutputTrigger = TIM_TRGO_OC4REF;
  sMasterConfig.MasterOutputTrigger2 = TIM_TRGO2_OC5REF;
  sMasterConfig.MasterSlaveMode = TIM_MASTERSLAVEMODE_ENABLE;
  if (HAL_TIMEx_MasterConfigSynchronization(&htim1, &sMasterConfig) != HAL_OK)
  {
    Error_Handler();
  }
  sConfigOC.OCMode = TIM_OCMODE_PWM1;
  sConfigOC.Pulse = 0;
  sConfigOC.OCPolarity = TIM_OCPOLARITY_HIGH;
  sConfigOC.OCNPolarity = TIM_OCNPOLARITY_HIGH;
  sConfigOC.OCFastMode = TIM_OCFAST_DISABLE;
  sConfigOC.OCIdleState = TIM_OCIDLESTATE_RESET;
  sConfigOC.OCNIdleState = TIM_OCNIDLESTATE_RESET;
  if (HAL_TIM_PWM_ConfigChannel(&htim1, &sConfigOC, TIM_CHANNEL_1) != HAL_OK)
  {
    Error_Handler();
  }
  if (HAL_TIM_PWM_ConfigChannel(&htim1, &sConfigOC, TIM_CHANNEL_2) != HAL_OK)
  {
    Error_Handler();
  }
  if (HAL_TIM_PWM_ConfigChannel(&htim1, &sConfigOC, TIM_CHANNEL_3) != HAL_OK)
  {
    Error_Handler();
  }
  sConfigOC.Pulse = 1;
  if (HAL_TIM_PWM_ConfigChannel(&htim1, &sConfigOC, TIM_CHANNEL_4) != HAL_OK)
  {
    Error_Handler();
  }
  sConfigOC.Pulse = 3999;
  if (HAL_TIM_PWM_ConfigChannel(&htim1, &sConfigOC, TIM_CHANNEL_5) != HAL_OK)
  {
    Error_Handler();
  }
  sBreakDeadTimeConfig.OffStateRunMode = TIM_OSSR_DISABLE;
  sBreakDeadTimeConfig.OffStateIDLEMode = TIM_OSSI_DISABLE;
  sBreakDeadTimeConfig.LockLevel = TIM_LOCKLEVEL_OFF;
  sBreakDeadTimeConfig.DeadTime = 0;
  sBreakDeadTimeConfig.BreakState = TIM_BREAK_DISABLE;
  sBreakDeadTimeConfig.BreakPolarity = TIM_BREAKPOLARITY_HIGH;
  sBreakDeadTimeConfig.BreakFilter = 0;
  sBreakDeadTimeConfig.BreakAFMode = TIM_BREAK_AFMODE_INPUT;
  sBreakDeadTimeConfig.Break2State = TIM_BREAK2_DISABLE;
  sBreakDeadTimeConfig.Break2Polarity = TIM_BREAK2POLARITY_HIGH;
  sBreakDeadTimeConfig.Break2Filter = 0;
  sBreakDeadTimeConfig.Break2AFMode = TIM_BREAK_AFMODE_INPUT;
  sBreakDeadTimeConfig.AutomaticOutput = TIM_AUTOMATICOUTPUT_DISABLE;
  if (HAL_TIMEx_ConfigBreakDeadTime(&htim1, &sBreakDeadTimeConfig) != HAL_OK)
  {
    Error_Handler();
  }
  HAL_TIM_MspPostInit(&htim1);

}

static void MX_TIM4_Init(void)
{

  TIM_SlaveConfigTypeDef sSlaveConfig = {0};
  TIM_MasterConfigTypeDef sMasterConfig = {0};
  TIM_OC_InitTypeDef sConfigOC = {0};

  htim4.Instance = TIM4;
  htim4.Init.Prescaler = 0;
  htim4.Init.CounterMode = TIM_COUNTERMODE_UP;
  htim4.Init.Period = 7999;
  htim4.Init.ClockDivision = TIM_CLOCKDIVISION_DIV1;
  htim4.Init.AutoReloadPreload = TIM_AUTORELOAD_PRELOAD_DISABLE;
  if (HAL_TIM_Base_Init(&htim4) != HAL_OK)
  {
    Error_Handler();
  }
  if (HAL_TIM_PWM_Init(&htim4) != HAL_OK)
  {
    Error_Handler();
  }
  sSlaveConfig.SlaveMode = TIM_SLAVEMODE_TRIGGER;
  sSlaveConfig.InputTrigger = TIM_TS_ITR0;
  if (HAL_TIM_SlaveConfigSynchro(&htim4, &sSlaveConfig) != HAL_OK)
  {
    Error_Handler();
  }
  sMasterConfig.MasterOutputTrigger = TIM_TRGO_RESET;
  sMasterConfig.MasterSlaveMode = TIM_MASTERSLAVEMODE_DISABLE;
  if (HAL_TIMEx_MasterConfigSynchronization(&htim4, &sMasterConfig) != HAL_OK)
  {
    Error_Handler();
  }
  sConfigOC.OCMode = TIM_OCMODE_PWM1;
  sConfigOC.Pulse = 7999;
  sConfigOC.OCPolarity = TIM_OCPOLARITY_HIGH;
  sConfigOC.OCFastMode = TIM_OCFAST_DISABLE;
  if (HAL_TIM_PWM_ConfigChannel(&htim4, &sConfigOC, TIM_CHANNEL_1) != HAL_OK)
  {
    Error_Handler();
  }
  if (HAL_TIM_PWM_ConfigChannel(&htim4, &sConfigOC, TIM_CHANNEL_2) != HAL_OK)
  {
    Error_Handler();
  }
  HAL_TIM_MspPostInit(&htim4);

}

static void MX_TIM15_Init(void)
{

  TIM_MasterConfigTypeDef sMasterConfig = {0};
  TIM_OC_InitTypeDef sConfigOC = {0};
  TIM_BreakDeadTimeConfigTypeDef sBreakDeadTimeConfig = {0};

  htim15.Instance = TIM15;
  htim15.Init.Prescaler = 249;
  htim15.Init.CounterMode = TIM_COUNTERMODE_UP;
  htim15.Init.Period = 63999;
  htim15.Init.ClockDivision = TIM_CLOCKDIVISION_DIV1;
  htim15.Init.RepetitionCounter = 0;
  htim15.Init.AutoReloadPreload = TIM_AUTORELOAD_PRELOAD_DISABLE;
  if (HAL_TIM_PWM_Init(&htim15) != HAL_OK)
  {
    Error_Handler();
  }
  sMasterConfig.MasterOutputTrigger = TIM_TRGO_RESET;
  sMasterConfig.MasterSlaveMode = TIM_MASTERSLAVEMODE_DISABLE;
  if (HAL_TIMEx_MasterConfigSynchronization(&htim15, &sMasterConfig) != HAL_OK)
  {
    Error_Handler();
  }
  sConfigOC.OCMode = TIM_OCMODE_PWM1;
  sConfigOC.Pulse = 32000;
  sConfigOC.OCPolarity = TIM_OCPOLARITY_HIGH;
  sConfigOC.OCNPolarity = TIM_OCNPOLARITY_HIGH;
  sConfigOC.OCFastMode = TIM_OCFAST_DISABLE;
  sConfigOC.OCIdleState = TIM_OCIDLESTATE_RESET;
  sConfigOC.OCNIdleState = TIM_OCNIDLESTATE_RESET;
  if (HAL_TIM_PWM_ConfigChannel(&htim15, &sConfigOC, TIM_CHANNEL_2) != HAL_OK)
  {
    Error_Handler();
  }
  sBreakDeadTimeConfig.OffStateRunMode = TIM_OSSR_DISABLE;
  sBreakDeadTimeConfig.OffStateIDLEMode = TIM_OSSI_DISABLE;
  sBreakDeadTimeConfig.LockLevel = TIM_LOCKLEVEL_OFF;
  sBreakDeadTimeConfig.DeadTime = 0;
  sBreakDeadTimeConfig.BreakState = TIM_BREAK_DISABLE;
  sBreakDeadTimeConfig.BreakPolarity = TIM_BREAKPOLARITY_HIGH;
  sBreakDeadTimeConfig.BreakFilter = 0;
  sBreakDeadTimeConfig.AutomaticOutput = TIM_AUTOMATICOUTPUT_DISABLE;
  if (HAL_TIMEx_ConfigBreakDeadTime(&htim15, &sBreakDeadTimeConfig) != HAL_OK)
  {
    Error_Handler();
  }
  HAL_TIM_MspPostInit(&htim15);

}

static void MX_USART1_UART_Init(void)
{

  huart1.Instance = USART1;
  huart1.Init.BaudRate = 115200;
  huart1.Init.WordLength = UART_WORDLENGTH_8B;
  huart1.Init.StopBits = UART_STOPBITS_1;
  huart1.Init.Parity = UART_PARITY_NONE;
  huart1.Init.Mode = UART_MODE_TX_RX;
  huart1.Init.HwFlowCtl = UART_HWCONTROL_NONE;
  huart1.Init.OverSampling = UART_OVERSAMPLING_16;
  huart1.Init.OneBitSampling = UART_ONE_BIT_SAMPLE_DISABLE;
  huart1.Init.ClockPrescaler = UART_PRESCALER_DIV1;
  huart1.AdvancedInit.AdvFeatureInit = UART_ADVFEATURE_NO_INIT;
  if (HAL_UART_Init(&huart1) != HAL_OK)
  {
    Error_Handler();
  }
  if (HAL_UARTEx_SetTxFifoThreshold(&huart1, UART_TXFIFO_THRESHOLD_1_8) != HAL_OK)
  {
    Error_Handler();
  }
  if (HAL_UARTEx_SetRxFifoThreshold(&huart1, UART_RXFIFO_THRESHOLD_1_8) != HAL_OK)
  {
    Error_Handler();
  }
  if (HAL_UARTEx_DisableFifoMode(&huart1) != HAL_OK)
  {
    Error_Handler();
  }

}

static void MX_DMA_Init(void)
{

  /* DMA controller clock enable */
  __HAL_RCC_DMAMUX1_CLK_ENABLE();
  __HAL_RCC_DMA1_CLK_ENABLE();
  __HAL_RCC_DMA2_CLK_ENABLE();

  /* DMA interrupt init */
  /* DMA1_Channel1_IRQn interrupt configuration */
  HAL_NVIC_SetPriority(DMA1_Channel1_IRQn, 0, 0);
  HAL_NVIC_EnableIRQ(DMA1_Channel1_IRQn);
  /* DMA1_Channel2_IRQn interrupt configuration */
  HAL_NVIC_SetPriority(DMA1_Channel2_IRQn, 0, 0);
  HAL_NVIC_EnableIRQ(DMA1_Channel2_IRQn);
  /* DMA1_Channel3_IRQn interrupt configuration */
  HAL_NVIC_SetPriority(DMA1_Channel3_IRQn, 0, 0);
  HAL_NVIC_EnableIRQ(DMA1_Channel3_IRQn);
  /* DMA1_Channel4_IRQn interrupt configuration */
  HAL_NVIC_SetPriority(DMA1_Channel4_IRQn, 6, 0);
  HAL_NVIC_EnableIRQ(DMA1_Channel4_IRQn);
  /* DMA1_Channel5_IRQn interrupt configuration */
  HAL_NVIC_SetPriority(DMA1_Channel5_IRQn, 0, 0);
  HAL_NVIC_EnableIRQ(DMA1_Channel5_IRQn);
  /* DMA1_Channel6_IRQn interrupt configuration */
  HAL_NVIC_SetPriority(DMA1_Channel6_IRQn, 0, 0);
  HAL_NVIC_EnableIRQ(DMA1_Channel6_IRQn);
  /* DMA2_Channel1_IRQn interrupt configuration */
  HAL_NVIC_SetPriority(DMA2_Channel1_IRQn, 1, 0);
  HAL_NVIC_EnableIRQ(DMA2_Channel1_IRQn);
  /* DMA2_Channel2_IRQn interrupt configuration */
  HAL_NVIC_SetPriority(DMA2_Channel2_IRQn, 1, 0);
  HAL_NVIC_EnableIRQ(DMA2_Channel2_IRQn);

}

static void MX_GPIO_Init(void)
{
  GPIO_InitTypeDef GPIO_InitStruct = {0};

  /* GPIO Ports Clock Enable */
  __HAL_RCC_GPIOA_CLK_ENABLE();
  __HAL_RCC_GPIOB_CLK_ENABLE();

  /*Configure GPIO pin Output Level */
  HAL_GPIO_WritePin(GPIOA, DRV_EN_Pin|DRV_CS_Pin, GPIO_PIN_RESET);

  /*Configure GPIO pins : DRV_EN_Pin DRV_CS_Pin */
  GPIO_InitStruct.Pin = DRV_EN_Pin|DRV_CS_Pin;
  GPIO_InitStruct.Mode = GPIO_MODE_OUTPUT_PP;
  GPIO_InitStruct.Pull = GPIO_NOPULL;
  GPIO_InitStruct.Speed = GPIO_SPEED_FREQ_LOW;
  HAL_GPIO_Init(GPIOA, &GPIO_InitStruct);

  /*Configure GPIO pin : nFAULT_Pin */
  GPIO_InitStruct.Pin = nFAULT_Pin;
  GPIO_InitStruct.Mode = GPIO_MODE_INPUT;
  GPIO_InitStruct.Pull = GPIO_PULLUP;
  HAL_GPIO_Init(nFAULT_GPIO_Port, &GPIO_InitStruct);

}

void Error_Handler(void)
{
  /* USER CODE BEGIN Error_Handler_Debug */
  /* User can add his own implementation to report the HAL error return state */
  __disable_irq();

  setLEDPWM(200, 50);

  while (1) {}
  /* USER CODE END Error_Handler_Debug */
}

/************************ (C) COPYRIGHT STMicroelectronics *****END OF FILE****/
